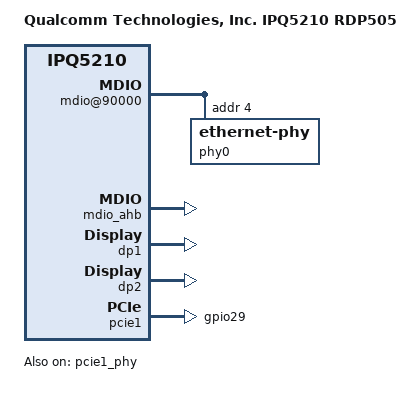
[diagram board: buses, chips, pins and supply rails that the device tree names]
// SPDX-License-Identifier: (GPL-2.0+ OR BSD-3-Clause)
/*
 * IPQ5210 RDP505 board device tree source
 *
 * Copyright (c) 2020-2021 The Linux Foundation. All rights reserved.
 * Copyright (c) Qualcomm Technologies, Inc. and/or its subsidiaries.
 */

/dts-v1/;

#include "ipq5210-rdp-common.dtsi"
#ifdef __IPQ_MEM_PROFILE_512_MB__
#include "ipq5210-512MB-default-memory.dtsi"
#else
#include "ipq5210-default-memory.dtsi"
#endif

/ {
	model = "Qualcomm Technologies, Inc. IPQ5210 RDP505";
	compatible = "qcom,ipq5210-rdp505", "qcom,ipq5210";

	aliases {
		serial0 = &uart1;
		ethernet0 = "/soc/dp1";
		ethernet1 = "/soc/dp2";
	};

	soc@0 {
		mdio@90000 {
			status = "okay";
			/* gpio reset for QCA8033 PHY */
			phy-reset-gpio = <&tlmm 24 GPIO_ACTIVE_LOW>;

			phy0: ethernet-phy@4 {
				reg = <4>;
			};
		};

		mdio_ahb: mdio-ahb@1400000 {
			status = "okay";
			compatible = "qcom,mdio-ahb-ipq52xx";
			reg = <0x1400000 0x200000>;  /* Base address: 0x1400000, Size: 2MB */
			clocks = <&gcc GCC_MDIO_GEPHY_AHB_CLK>,
				<&gcc GCC_GEPHY_SYS_CLK>,
				<&nsscc NSS_CC_EPHY_RX_CLK>,
				<&nsscc NSS_CC_EPHY_TX_CLK>,
				<&cmn_pll IPQ5210_EPHY_RAW_CLK>;
			clock-names = "mdio_gephy_ahb_clk",
				"gephy_sys_clk",
				"gephy_rx_clk",
				"gephy_tx_clk",
				"gephy_raw_clk";

			resets = <&gcc GCC_GEPHY_SYS_ARES>,
				 <&nsscc NSS_CC_EPHY_RX_CLK_ARES>,
				 <&nsscc NSS_CC_EPHY_TX_CLK_ARES>;
			reset-names = "gephy_sys_reset",
				 "gephy_rx_reset",
				 "gephy_tx_reset";
		};

		ess-instance {
			num_devices = <0x1>;

			ess_switch: ess-switch@3a000000 {
				switch_lan_bmp = <0x10>; /* lan port bitmap */
				switch_wan_bmp = <0x20>; /* wan port bitmap */
				switch_mac_mode = <0xff>; /* unused */
				switch_mac_mode1 = <0xf>; /* SGMII for QCA8033 */
				switch_mac_mode2 = <0xff>; /* unused */

				qcom,port_phyinfo {
					port@3 {
						port_id = <4>;
						phy-mode = "internal";
					};
					port@4 {
						port_id = <5>;
						phy_address = <4>;
						phy-handle = <&phy0>;
						phy-mode = "sgmii";
					};
				};
			};
		};

		dp1 {
			device_type = "network";
			compatible = "qcom,nss-dp";
			qcom,id = <4>;
			reg = <0x3a001600 0x200>;
			qcom,mactype = <0>;
			local-mac-address = [000000000000];
			qcom,ppe-offload-disabled = <0>;
		};

		dp2 {
			device_type = "network";
			compatible = "qcom,nss-dp";
			qcom,id = <5>;
			reg = <0x3A001800 0x200>;
			qcom,mactype = <0>;
			local-mac-address = [000000000000];
			qcom,ppe-offload-disabled = <0>;
		};
	};
};

&tlmm {
	pcie1_default_state: pcie1-default-state {
		pins = "gpio29";
		function = "gpio";
		drive-strength = <6>;
		bias-pull-down;
		output-low;
	};

	qup_uart1_default: qup-uart1-default-state {
		qup_uart1_tx {
			pins = "gpio39";
			function = "qup_se1_l2";
			drive-strength = <6>;
			bias-pull-down;
		};

		qup_uart1_rx {
			pins = "gpio38";
			function = "qup_se1_l3";
			drive-strength = <6>;
			bias-pull-down;
		};
	};
};

&pcie1_phy {
	status = "okay";
};

&pcie1 {
	pinctrl-0 = <&pcie1_default_state>;
	perst-gpio = <&tlmm 29 GPIO_ACTIVE_LOW>;
	status = "okay";

	pcie1_rp {
		reg = <0 0 0 0 0>;
	};
};

&qusb_phy_0 {
	status = "disabled";
};

&ssphy_0 {
	status = "disabled";
};

&usb3 {
	status = "disabled";
};

&i2c0 {
	status = "disabled";
};


&ess_switch {
	port_scheduler_resource {
		/delete-node/ port@6;
		/delete-node/ port@5;
		port@5 {
			port_id = <5>;
			ucast_queue = <32 63>;
			mcast_queue = <288 291>;
			l0sp = <8 15>;
			l0cdrr = <32 63>;
			l0edrr = <32 63>;
			l1cdrr = <8 15>;
			l1edrr = <8 15>;
		};
	};

	port_scheduler_config {
		/delete-node/ port@6;
		/delete-node/ port@5;
		port@5 {
			port_id = <5>;
			l1scheduler {
				group@0 {
					sp = <8>;
					sp_loop_pri = <8>;
					sp_max_pri = <1>;
					/* cpri cdrr epri edrr */
					cfg = <0 8 0 8>;
				};
			};
			l0scheduler {
				group@0 {
					ucast_queue = <32>;
					ucast_loop_pri = <8>;
					mcast_queue = <288>;
					mcast_loop_pri = <4>;
					cfg = <8 0 32 0 32>;
				};
				group@1 {
					ucast_queue = <40>;
					ucast_loop_pri = <8>;
					cfg = <10 0 40 0 40>;
				};
				group@2 {
					ucast_queue = <48>;
					ucast_loop_pri = <8>;
					cfg = <12 0 48 0 48>;
				};
				group@3 {
					ucast_queue = <56>;
					ucast_loop_pri = <8>;
					cfg = <14 0 56 0 56>;
				};
			};
		};
	};
};
